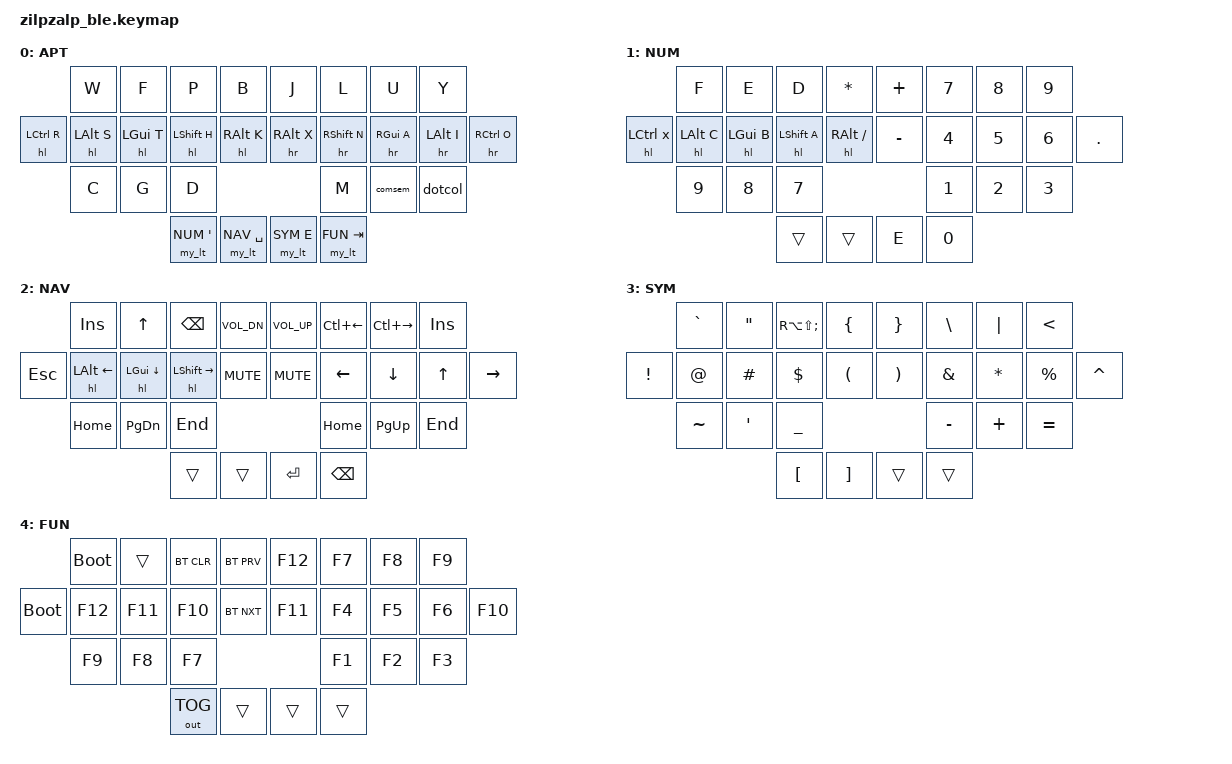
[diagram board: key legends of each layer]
#include "base_zilpzalp.h"
#include <dt-bindings/zmk/bt.h>
#include <dt-bindings/zmk/outputs.h>


// zilpzalp key numbers
//     __________________________  __________________________
//    /     0  |  1  |  2  |  3  \/   4 |   5 |   6 |   7    \
// |  8  |  9  | 10  | 11  | 12  /\  13 |  14 |  15 |  16 | 17  |
//    \    18  | 19  | 20    /        \    21 |  22 |  23   /
//          \    24  | 25  /            \  26 |  27    /
//           --------------              --------------

/ {

    keymap {
        compatible = "zmk,keymap";

        aptmak {
            label = "APT";

            bindings = <
                               &kp W          &kp F          &kp P          &kp B          &kp J          &kp L          &kp U          &kp Y
                &hl LCTRL R    &hl LALT S     &hl LGUI T     &hl LSHFT H    &hl RALT K     &hr RALT X     &hr RSHFT N    &hr RGUI A     &hr LALT I     &hr RCTRL O
                               &kp C          &kp G          &kp D                                        &kp M          &comsem        &dotcol
                                                             &my_lt NUM SQT &my_lt NAV SPACE &my_lt SYM E &my_lt FUN TAB
            >;
        };
        numbers {
            label = "NUM";

            bindings = <
                               &kp F          &kp E          &kp D          &kp ASTERISK   &kp PLUS       &kp N7         &kp N8         &kp N9
                &hl LCTRL x    &hl LALT C     &hl LGUI B     &hl LSHFT A    &hl RALT SLASH &kp MINUS      &kp N4         &kp N5         &kp N6         &kp DOT
                               &kp N9         &kp N8         &kp N7                                       &kp N1         &kp N2         &kp N3
                                                             &trans         &trans         &kp E          &kp N0
            >;
        };
        navigation {
            label = "NAV";

            bindings = <
                               &kp INSERT     &kp UP         &kp BSPC        &kp C_VOL_DN   &kp C_VOL_UP   &kp LC(LEFT)   &kp LC(RIGHT)  &kp INSERT
                &kp ESCAPE     &hl LALT LEFT  &hl LGUI DOWN  &hl LSHFT RIGHT &kp C_MUTE     &kp C_MUTE     &kp LEFT       &kp DOWN       &kp UP         &kp RIGHT
                               &kp HOME       &kp PG_DN      &kp END                                       &kp HOME       &kp PG_UP      &kp END
                                                             &trans          &trans         &kp ENTER      &kp BSPC
            >;
        };
        symbols {
            label = "SYM";

            bindings = <
                               &kp GRAVE      &kp DQT        &kp RA(LS(SEMI)) &kp LBRC       &kp RBRC       &kp BACKSLASH  &kp PIPE       &kp LT
                &kp EXCL       &kp AT         &kp HASH       &kp DOLLAR       &kp LPAR       &kp RPAR       &kp AMPERSAND  &kp ASTERISK   &kp PERCENT    &kp CARET
                               &kp TILDE      &kp SQT        &kp UNDERSCORE                                 &kp MINUS      &kp PLUS       &kp EQUAL
                                                             &kp LBKT         &kp RBKT       &trans         &trans
            >;
        };
        function {
            label = "FUN";

            bindings = <
                               &bootloader    &trans         &bt BT_CLR     &bt BT_PRV     &kp F12        &kp F7         &kp F8         &kp F9
                &bootloader    &kp F12        &kp F11        &kp F10        &bt BT_NXT     &kp F11        &kp F4         &kp F5         &kp F6         &kp F10
                               &kp F9         &kp F8         &kp F7                                       &kp F1         &kp F2         &kp F3
                                                             &out OUT_TOG   &trans         &trans         &trans
            >;
        };

    };
};

//     __________________________  __________________________
//    /     1  |  2  |  3  |  4  \/   5 |   6 |   7 |   8    \
// | 10  | 11  | 12  | 13  | 14  ||  15 |  16 |  17 |  18 | 19  |
//    \    20  | 21  | 22  |     ||     |  23 |  24 |  25   /
//                \    26  | 27  /\  28 |  29    /
//                 --------------  --------------
